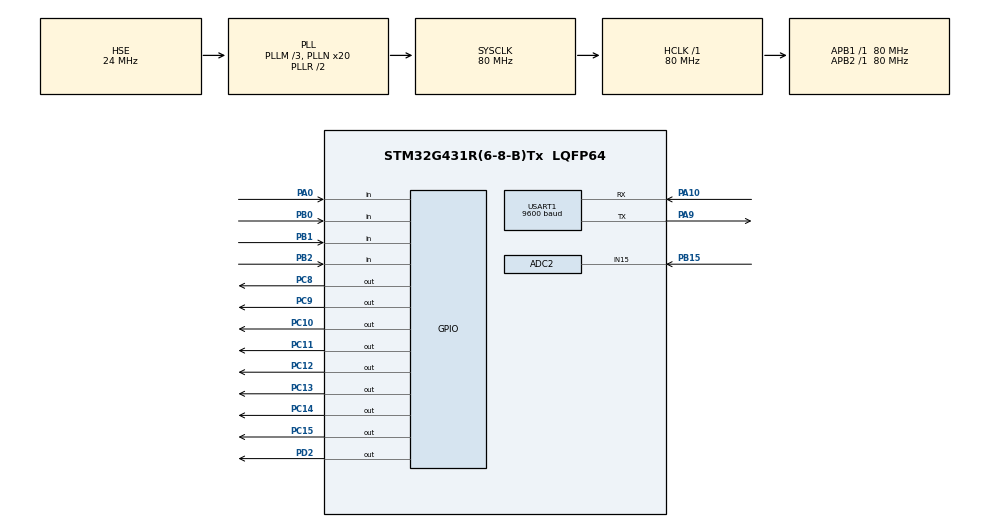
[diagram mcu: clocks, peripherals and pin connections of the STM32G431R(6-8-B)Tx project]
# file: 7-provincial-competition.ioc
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ADC2.Channel-0\#ChannelRegularConversion=ADC_CHANNEL_15
ADC2.NbrOfConversionFlag=1
ADC2.OffsetNumber-0\#ChannelRegularConversion=ADC_OFFSET_NONE
ADC2.Rank-0\#ChannelRegularConversion=1
ADC2.SamplingTime-0\#ChannelRegularConversion=ADC_SAMPLETIME_2CYCLES_5
Mcu.Family=STM32G4
Mcu.Name=STM32G431R(6-8-B)Tx
Mcu.Package=LQFP64
NVIC.PriorityGroup=NVIC_PRIORITYGROUP_4
NVIC.TIM2_IRQn=true\:0\:0\:false\:false\:true\:true\:true\:true
NVIC.USART1_IRQn=true\:0\:0\:false\:false\:true\:true\:true\:true
PA0.GPIO_PuPd=GPIO_PULLUP
PA0.Signal=GPIO_Input
PA10.Mode=Asynchronous
PA10.Signal=USART1_RX
PA13.Mode=Serial_Wire
PA13.Signal=SYS_JTMS-SWDIO
PA14.Mode=Serial_Wire
PA14.Signal=SYS_JTCK-SWCLK
PA9.Mode=Asynchronous
PA9.Signal=USART1_TX
PB0.GPIO_PuPd=GPIO_PULLUP
PB0.Signal=GPIO_Input
PB1.GPIO_PuPd=GPIO_PULLUP
PB1.Signal=GPIO_Input
PB15.Mode=IN15-Single-Ended
PB15.Signal=ADC2_IN15
PB2.GPIO_PuPd=GPIO_PULLUP
PB2.Signal=GPIO_Input
PC10.PinState=GPIO_PIN_SET
PC10.Signal=GPIO_Output
PC11.PinState=GPIO_PIN_SET
PC11.Signal=GPIO_Output
PC12.PinState=GPIO_PIN_SET
PC12.Signal=GPIO_Output
PC13.PinState=GPIO_PIN_SET
PC13.Signal=GPIO_Output
PC14-OSC32_IN.PinState=GPIO_PIN_SET
PC14-OSC32_IN.Signal=GPIO_Output
PC15-OSC32_OUT.PinState=GPIO_PIN_SET
PC15-OSC32_OUT.Signal=GPIO_Output
PC8.PinState=GPIO_PIN_SET
PC8.Signal=GPIO_Output
PC9.PinState=GPIO_PIN_SET
PC9.Signal=GPIO_Output
PD2.Signal=GPIO_Output
PF0-OSC_IN.Mode=HSE-External-Oscillator
PF0-OSC_IN.Signal=RCC_OSC_IN
PF1-OSC_OUT.Mode=HSE-External-Oscillator
PF1-OSC_OUT.Signal=RCC_OSC_OUT
ProjectManager.HeapSize=0x200
ProjectManager.StackSize=0x400
ProjectManager.TargetToolchain=MDK-ARM V5.32
RCC.ADC12Freq_Value=80000000
RCC.AHBFreq_Value=80000000
RCC.APB1Freq_Value=80000000
RCC.APB1TimFreq_Value=80000000
RCC.APB2Freq_Value=80000000
RCC.APB2TimFreq_Value=80000000
RCC.CortexFreq_Value=80000000
RCC.EXTERNAL_CLOCK_VALUE=12288000
RCC.HCLKFreq_Value=80000000
RCC.HSE_VALUE=24000000
RCC.HSI48_VALUE=48000000
RCC.HSI_VALUE=16000000
RCC.LSE_VALUE=32768
RCC.PLLM=RCC_PLLM_DIV3
RCC.PLLN=20
RCC.PLLSourceVirtual=RCC_PLLSOURCE_HSE
RCC.SYSCLKFreq_VALUE=80000000
RCC.SYSCLKSource=RCC_SYSCLKSOURCE_PLLCLK
RCC.USBFreq_Value=80000000
RCC.VCOOutputFreq_Value=160000000
TIM2.PeriodNoDither=10000-1
TIM2.Prescaler=8000-1
USART1.BaudRate=9600
USART1.VirtualMode-Asynchronous=VM_ASYNC
VP_SYS_VS_DBSignals.Mode=DisableDeadBatterySignals
VP_TIM2_VS_ClockSourceINT.Mode=Internal
board=custom

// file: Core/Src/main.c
/* USER CODE BEGIN Header */
/**
  ******************************************************************************
  * @file           : main.c
  * @brief          : Main program body
  ******************************************************************************
  * @attention
  *
  * Copyright (c) 2025 STMicroelectronics.
  * All rights reserved.
  *
  * This software is licensed under terms that can be found in the LICENSE file
  * in the root directory of this software component.
  * If no LICENSE file comes with this software, it is provided AS-IS.
  *
  ******************************************************************************
  */
/* USER CODE END Header */
#include "main.h"
#include "adc.h"
#include "tim.h"
#include "usart.h"
#include "gpio.h"

/* USER CODE BEGIN Includes */
#include "header.h"
/* USER CODE END Includes */

void SystemClock_Config(void);
/* USER CODE BEGIN PFP */
double Get_ADC_Vol(ADC_HandleTypeDef *hadc);
/* USER CODE END PFP */

/* USER CODE BEGIN 0 */
char text[20];
double V1,k=100/3.3, height;
uint8_t adc_flag=1, page, line;
uint8_t th1=30, th2=50, th3=70;
uint8_t level, level_temp;
void LCD_Proc(){
    if(adc_flag){
        V1=Get_ADC_Vol(&hadc2);
        height=V1*k;
        adc_flag=0;
    }
    if(page==0){
        sprintf(text, "    Liquid Level    ");
        LCD_DisplayStringLine(Line1, (uint8_t*)text);
        sprintf(text, "    Height: %03.0fcm   ", height);
        LCD_DisplayStringLine(Line3, (uint8_t*)text);
        sprintf(text, "    ADC: %.2fV      ", V1);
        LCD_DisplayStringLine(Line5, (uint8_t*)text);
        uint8_t* num;
        EEPROM_Read(0, num);
        th1=num[0];th2=num[1];th3=num[2];
        level_temp=level;
        if(height<=th1) level=0;
        if(height>th1 && height<=th2) level=1;
        if(height>th2 && height<=th3) level=2;
        if(height>th3) level=3;
        sprintf(text, "    Level: %d        ", level);
        LCD_DisplayStringLine(Line7, (uint8_t*)text);
    }else{
        sprintf(text, "  Parameter Setup  ");
        LCD_DisplayStringLine(Line1, (uint8_t*)text);
        if(line==0){
            LCD_SetBackColor(Green);
        }else{
            LCD_SetBackColor(Black);
        }
        sprintf(text, "  Threshold1: %03dcm", th1);
        LCD_DisplayStringLine(Line3, (uint8_t*)text);
        if(line==1){
            LCD_SetBackColor(Green);
        }else{
            LCD_SetBackColor(Black);
        }
        sprintf(text, "  Threshold2: %03dcm", th2);
        LCD_DisplayStringLine(Line5, (uint8_t*)text);
        if(line==2){
            LCD_SetBackColor(Green);
        }else{
            LCD_SetBackColor(Black);
        }
        sprintf(text, "  Threshold3: %03dcm", th3);
        LCD_DisplayStringLine(Line7, (uint8_t*)text);
        LCD_SetBackColor(Black);
    }
}
uint8_t led_mode, rec_flag, level_flag;
uint32_t level_led, rec_led;
void LED_Proc(){
    LED_Show(0x01, led_mode);
    if(level!=level_temp){
        level_flag=1;
        level_led=0;
    }
    if(level_flag){
        if(level_led<=2000){
            LED_Show(0x02, 1);
            HAL_Delay(200);
            LED_Show(0x02, 0);
            HAL_Delay(200);
        }else{
            level_flag=0;
        }
    }
    if(rec_flag){
        if(rec_led<=2000){
            LED_Show(0x04, 1);
            HAL_Delay(200);
            LED_Show(0x04, 0);
            HAL_Delay(200);
        }else{
            rec_flag=0;
        }
    }
}
/* USER CODE END 0 */

int main(void)
{

  /* MCU Configuration--------------------------------------------------------*/

  /* Reset of all peripherals, Initializes the Flash interface and the Systick. */
  HAL_Init();

  /* Configure the system clock */
  SystemClock_Config();

  /* Initialize all configured peripherals */
  MX_GPIO_Init();
  MX_ADC2_Init();
  MX_TIM2_Init();
  MX_USART1_UART_Init();
  /* USER CODE BEGIN 2 */
  // LCD初始化配置
    LCD_Init();
    LCD_Clear(Black);
    LCD_SetBackColor(Black);
    LCD_SetTextColor(White);
    // ADC校准
    HAL_ADCEx_Calibration_Start(&hadc2, ADC_SINGLE_ENDED);
    // 开启定时器中断
    HAL_TIM_Base_Start_IT(&htim2);
    // I2C启动
    I2CInit();
    // 接收中断
    HAL_UART_Receive_IT(&huart1, &rec_data, 1);
  /* USER CODE END 2 */

  /* Infinite loop */
  /* USER CODE BEGIN WHILE */
  while (1)
  {
      LCD_Proc();
      KEY_Detection();
      LED_Proc();
      UART_Proc();
    /* USER CODE END WHILE */

  }
}

void SystemClock_Config(void)
{
  RCC_OscInitTypeDef RCC_OscInitStruct = {0};
  RCC_ClkInitTypeDef RCC_ClkInitStruct = {0};

  /** Configure the main internal regulator output voltage
  */
  HAL_PWREx_ControlVoltageScaling(PWR_REGULATOR_VOLTAGE_SCALE1);

  /** Initializes the RCC Oscillators according to the specified parameters
  * in the RCC_OscInitTypeDef structure.
  */
  RCC_OscInitStruct.OscillatorType = RCC_OSCILLATORTYPE_HSE;
  RCC_OscInitStruct.HSEState = RCC_HSE_ON;
  RCC_OscInitStruct.PLL.PLLState = RCC_PLL_ON;
  RCC_OscInitStruct.PLL.PLLSource = RCC_PLLSOURCE_HSE;
  RCC_OscInitStruct.PLL.PLLM = RCC_PLLM_DIV3;
  RCC_OscInitStruct.PLL.PLLN = 20;
  RCC_OscInitStruct.PLL.PLLP = RCC_PLLP_DIV2;
  RCC_OscInitStruct.PLL.PLLQ = RCC_PLLQ_DIV2;
  RCC_OscInitStruct.PLL.PLLR = RCC_PLLR_DIV2;
  if (HAL_RCC_OscConfig(&RCC_OscInitStruct) != HAL_OK)
  {
    Error_Handler();
  }

  /** Initializes the CPU, AHB and APB buses clocks
  */
  RCC_ClkInitStruct.ClockType = RCC_CLOCKTYPE_HCLK|RCC_CLOCKTYPE_SYSCLK
                              |RCC_CLOCKTYPE_PCLK1|RCC_CLOCKTYPE_PCLK2;
  RCC_ClkInitStruct.SYSCLKSource = RCC_SYSCLKSOURCE_PLLCLK;
  RCC_ClkInitStruct.AHBCLKDivider = RCC_SYSCLK_DIV1;
  RCC_ClkInitStruct.APB1CLKDivider = RCC_HCLK_DIV1;
  RCC_ClkInitStruct.APB2CLKDivider = RCC_HCLK_DIV1;

  if (HAL_RCC_ClockConfig(&RCC_ClkInitStruct, FLASH_LATENCY_2) != HAL_OK)
  {
    Error_Handler();
  }
}

/* USER CODE BEGIN 4 */
void HAL_TIM_PeriodElapsedCallback(TIM_HandleTypeDef *htim){
    if(htim->Instance==TIM2){
        adc_flag=1;
        led_mode^=1;
    }
}
double Get_ADC_Vol(ADC_HandleTypeDef *hadc){
    HAL_ADC_Start(hadc);
    uint32_t vol=HAL_ADC_GetValue(hadc);
    return vol*3.3/4096;
}
/* USER CODE END 4 */

void Error_Handler(void)
{
  __disable_irq();
  while (1)
  {
  }
}
